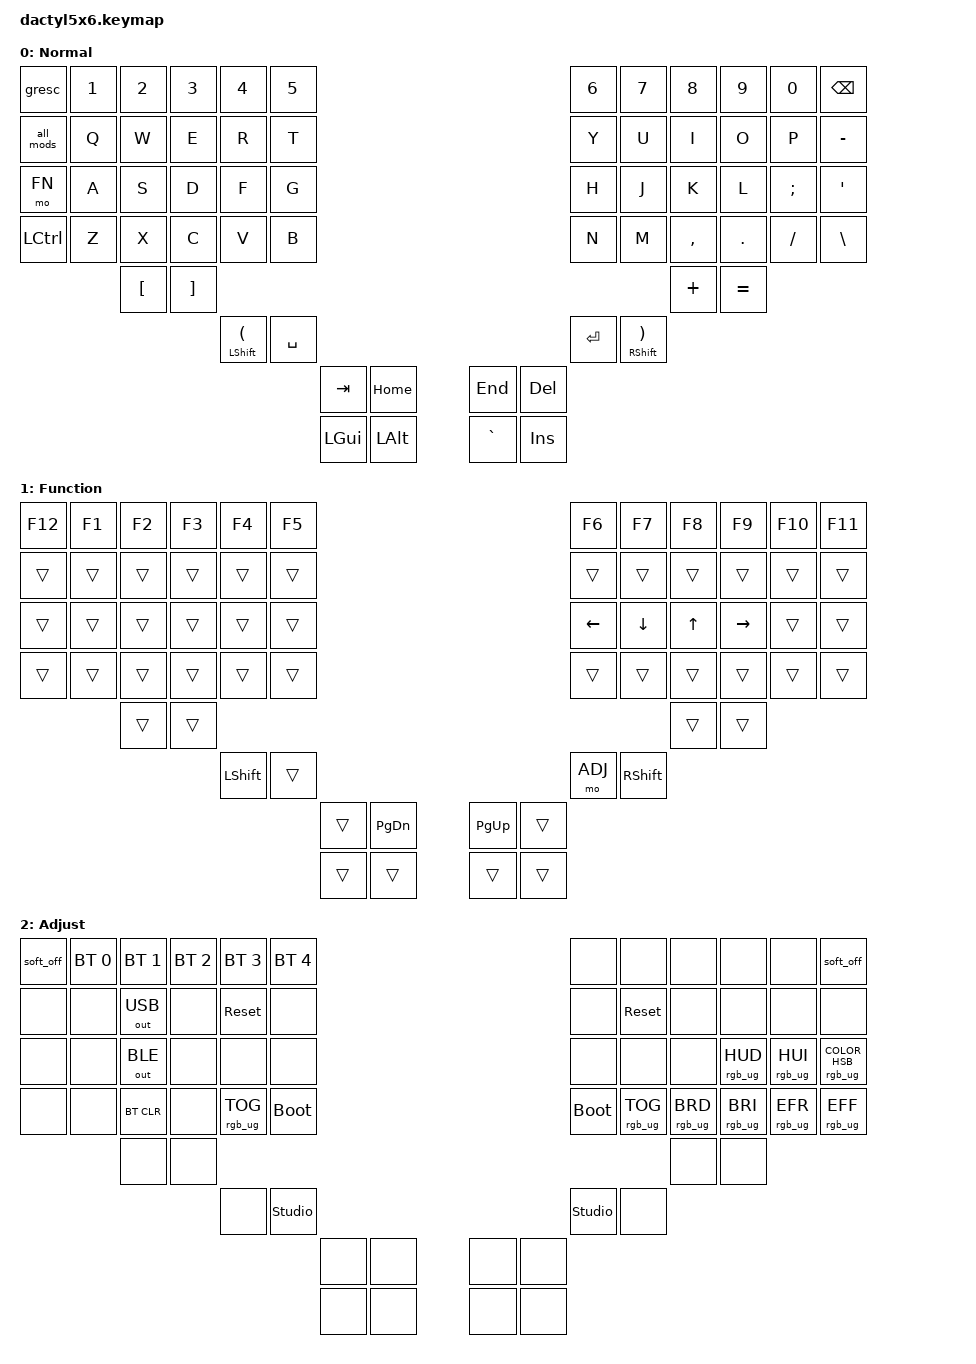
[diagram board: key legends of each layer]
#include <behaviors.dtsi>
#include <dt-bindings/zmk/keys.h>
#include <dt-bindings/zmk/bt.h>
#include <dt-bindings/zmk/outputs.h>
#include <dt-bindings/zmk/rgb.h>

#define DEFAULT 0
#define FN 1
#define ADJ 2

/ {
	macros {
		all_mods: all_mods {
			compatible = "zmk,behavior-macro";
			#binding-cells = <0>;
			wait-ms = <0>;
			tap-ms = <0>;
			bindings
				= <&macro_press &kp LCTRL &kp LALT &kp LSHIFT>
				, <&macro_pause_for_release>
				, <&macro_release &kp LCTRL &kp LALT &kp LSHIFT>;
		};
	};

	keymap {
		compatible = "zmk,keymap";

		default_layer {
			display-name = "Normal";
	        bindings = <
	            &gresc      &kp N1 &kp N2   &kp N3  &kp N4          &kp N5              &kp N6      &kp N7      &kp N8      &kp N9      &kp N0   &kp BSPC
	            &all_mods   &kp Q  &kp W    &kp E   &kp R           &kp T               &kp Y       &kp U       &kp I       &kp O       &kp P    &kp MINUS
	            &mo FN      &kp A  &kp S    &kp D   &kp F           &kp G               &kp H       &kp J       &kp K       &kp L       &kp SEMI &kp SQT
	            &kp LCTRL   &kp Z  &kp X    &kp C   &kp V           &kp B               &kp N       &kp M       &kp COMMA   &kp DOT     &kp FSLH &kp BSLH
	                               &kp LBKT &kp RBKT                                                            &kp PLUS    &kp EQUAL
	                                                &mt LSHIFT LPAR &kp SPACE           &kp RET     &mt RSHIFT RPAR
	                                                &kp TAB         &kp HOME            &kp END     &kp DEL
	                                                &kp LGUI        &kp LALT            &kp GRAVE   &kp INS
	            >;
	        };

        function_layer {
            display-name = "Function";
            bindings = <
                &kp F12     &kp F1  &kp F2 &kp F3   &kp F4          &kp F5              &kp F6      &kp F7      &kp F8      &kp F9      &kp F10 &kp F11
                &trans      &trans  &trans &trans   &trans          &trans              &trans      &trans      &trans      &trans      &trans  &trans
                &trans      &trans  &trans &trans   &trans          &trans              &kp LEFT    &kp DOWN    &kp UP      &kp RIGHT   &trans  &trans
                &trans      &trans  &trans &trans   &trans          &trans              &trans      &trans      &trans      &trans      &trans  &trans
                                    &trans &trans                                                               &trans      &trans
                                                    &kp LSHIFT      &trans              &mo ADJ     &kp RSHIFT
                                                    &trans          &kp PG_DN           &kp PG_UP   &trans
                                                    &trans          &trans              &trans      &trans
            >;
        };

        adjust_layer {
            display-name = "Adjust";
            bindings = <
                &soft_off &bt BT_SEL 0 &bt BT_SEL 1 &bt BT_SEL 2 &bt BT_SEL 3     &bt BT_SEL 4         &none           &none            &none           &none               &none           &soft_off
                &none     &none        &out OUT_USB &none        &sys_reset       &none                &none           &sys_reset       &none           &none               &none           &none
                &none     &none        &out OUT_BLE &none        &none            &none                &none           &none            &none           &rgb_ug RGB_HUD     &rgb_ug RGB_HUI &rgb_ug RGB_COLOR_HSB(45,100,100)
                &none     &none        &bt BT_CLR   &none        &rgb_ug RGB_TOG  &bootloader          &bootloader     &rgb_ug RGB_TOG  &rgb_ug RGB_BRD &rgb_ug RGB_BRI     &rgb_ug RGB_EFR &rgb_ug RGB_EFF
                                       &none        &none                                                                               &none           &none
                                                                 &none            &studio_unlock       &studio_unlock  &none
                                                                 &none            &none                &none           &none
                                                                 &none            &none                &none           &none
            >;
        };
	};
};
